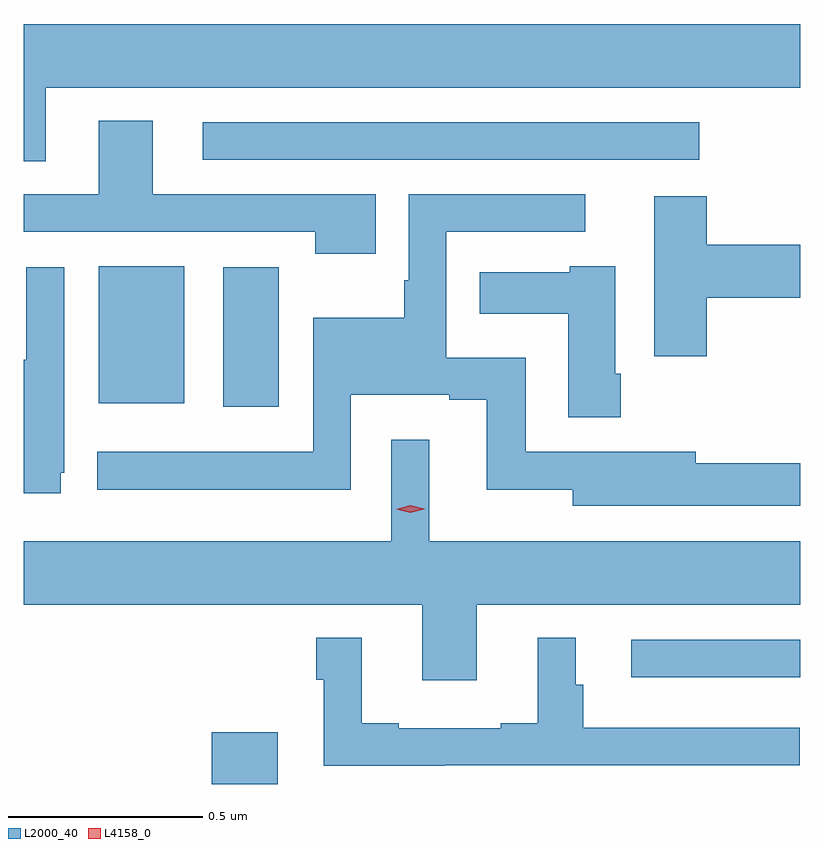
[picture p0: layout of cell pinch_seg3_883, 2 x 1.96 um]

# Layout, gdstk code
import gdstk
lib = gdstk.Library(unit=1e-6, precision=1e-09)
def R(c, l, rs):  # rectangles x0, y0, x1, y1
    for r in rs: c.add(gdstk.rectangle(r[:2], r[2:], *l))
def P(c, l, *ps):  # polygons
    for p in ps: c.add(gdstk.Polygon(p, *l))
L2000_40 = (2000, 40)
L4158_0 = (4158, 0)

pinch_seg3_883 = lib.new_cell('pinch_seg3_883')
R(pinch_seg3_883, L2000_40, [(708.788,703.119,708.958,703.252), (709.869,703.394,710.304,703.491), (708.818,704.091,708.961,704.449), (708.497,704.099,708.718,704.452), (708.765,704.727,710.044,704.823)])
P(pinch_seg3_883, L2000_40, [(708.361,704.912),(710.304,704.912),(710.304,705.076),(708.304,705.076),(708.304,704.722),(708.361,704.722)],
  [(709.211,704.637),(708.637,704.637),(708.637,704.827),(708.497,704.827),(708.497,704.637),(708.304,704.637),(708.304,704.541),(709.055,704.541),(709.055,704.484),(709.211,704.484)],
  [(709.931,703.836),(710.304,703.836),(710.304,703.945),(710.035,703.945),(710.035,703.975),(709.597,703.975),(709.597,704.217),(709.392,704.217),(709.392,704.541),(709.75,704.541),(709.75,704.637),(709.296,704.637),(709.296,704.416),(709.284,704.416),(709.284,704.32),(709.05,704.32),(709.05,703.974),(708.494,703.974),(708.494,703.877),(709.146,703.877),(709.146,704.121),(709.4,704.121),(709.4,704.109),(709.496,704.109),(709.496,703.877),(709.718,703.877),(709.718,703.835),(709.931,703.835)],
  [(710.063,704.371),(710.304,704.371),(710.304,704.508),(710.063,704.508),(710.063,704.632),(709.928,704.632),(709.928,704.22),(710.063,704.22)],
  [(709.841,704.176),(709.828,704.176),(709.828,704.452),(709.71,704.452),(709.71,704.437),(709.479,704.437),(709.479,704.33),(709.706,704.33),(709.706,704.064),(709.841,704.064)],
  [(708.4,703.92),(708.408,703.92),(708.408,704.449),(708.311,704.449),(708.311,704.212),(708.304,704.212),(708.304,703.868),(708.4,703.868)],
  [(709.471,703.58),(710.304,703.58),(710.304,703.744),(709.348,703.744),(709.348,704.005),(709.251,704.005),(709.251,703.744),(708.304,703.744),(708.304,703.58),(709.331,703.58),(709.331,703.386),(709.471,703.386)],
  [(709.388,703.167),(710.302,703.167),(710.302,703.264),(709.745,703.264),(709.745,703.374),(709.726,703.374),(709.726,703.495),(709.628,703.495),(709.628,703.276),(709.532,703.276),(709.532,703.263),(709.27,703.263),(709.27,703.276),(709.174,703.276),(709.174,703.495),(709.057,703.495),(709.057,703.388),(709.077,703.388),(709.077,703.166),(709.388,703.166)])
P(pinch_seg3_883, L4158_0, [(709.3,703.817),(709.264,703.826),(709.264,703.826),(709.264,703.826),(709.299,703.837),(709.335,703.828),(709.335,703.828),(709.335,703.827)])

lib.write_gds('pinch_seg3_883.gds')
